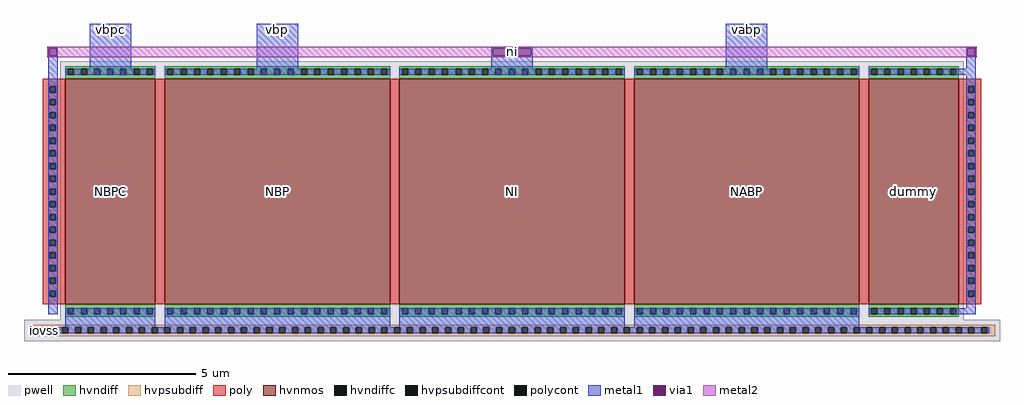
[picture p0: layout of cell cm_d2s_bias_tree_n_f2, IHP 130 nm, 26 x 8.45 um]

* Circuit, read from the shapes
.subckt cm_d2s_bias_tree_n_f2 ni iovss vbpc vbp vabp
XM1 vbpc ni iovss iovss sg13_hv_nmos w=2.4u l=6u
XM2 vbp ni iovss iovss sg13_hv_nmos w=6u l=6u
XM3 ni ni iovss iovss sg13_hv_nmos w=6u l=6u
XM4 vabp ni iovss iovss sg13_hv_nmos w=6u l=6u
XM5 ni ni ni iovss sg13_hv_nmos w=2.4u l=6u
.ends

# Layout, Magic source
magic
tech ihp-sg13cmos5l
magscale 1 2
<< pwell >>
rect -220 -128 4980 -16
<< hvpsubdiff >>
rect -194 -56 4954 -42
rect -194 -88 -152 -56
rect -120 -88 -84 -56
rect -52 -88 -16 -56
rect 16 -88 52 -56
rect 84 -88 120 -56
rect 152 -88 188 -56
rect 220 -88 256 -56
rect 288 -88 324 -56
rect 356 -88 392 -56
rect 424 -88 460 -56
rect 492 -88 528 -56
rect 560 -88 596 -56
rect 628 -88 664 -56
rect 696 -88 732 -56
rect 764 -88 800 -56
rect 832 -88 868 -56
rect 900 -88 936 -56
rect 968 -88 1004 -56
rect 1036 -88 1072 -56
rect 1104 -88 1140 -56
rect 1172 -88 1208 -56
rect 1240 -88 1276 -56
rect 1308 -88 1344 -56
rect 1376 -88 1412 -56
rect 1444 -88 1480 -56
rect 1512 -88 1548 -56
rect 1580 -88 1616 -56
rect 1648 -88 1684 -56
rect 1716 -88 1752 -56
rect 1784 -88 1820 -56
rect 1852 -88 1888 -56
rect 1920 -88 1956 -56
rect 1988 -88 2024 -56
rect 2056 -88 2092 -56
rect 2124 -88 2160 -56
rect 2192 -88 2228 -56
rect 2260 -88 2296 -56
rect 2328 -88 2364 -56
rect 2396 -88 2432 -56
rect 2464 -88 2500 -56
rect 2532 -88 2568 -56
rect 2600 -88 2636 -56
rect 2668 -88 2704 -56
rect 2736 -88 2772 -56
rect 2804 -88 2840 -56
rect 2872 -88 2908 -56
rect 2940 -88 2976 -56
rect 3008 -88 3044 -56
rect 3076 -88 3112 -56
rect 3144 -88 3180 -56
rect 3212 -88 3248 -56
rect 3280 -88 3316 -56
rect 3348 -88 3384 -56
rect 3416 -88 3452 -56
rect 3484 -88 3520 -56
rect 3552 -88 3588 -56
rect 3620 -88 3656 -56
rect 3688 -88 3724 -56
rect 3756 -88 3792 -56
rect 3824 -88 3860 -56
rect 3892 -88 3928 -56
rect 3960 -88 3996 -56
rect 4028 -88 4064 -56
rect 4096 -88 4132 -56
rect 4164 -88 4200 -56
rect 4232 -88 4268 -56
rect 4300 -88 4336 -56
rect 4368 -88 4404 -56
rect 4436 -88 4472 -56
rect 4504 -88 4540 -56
rect 4572 -88 4608 -56
rect 4640 -88 4676 -56
rect 4708 -88 4744 -56
rect 4776 -88 4812 -56
rect 4844 -88 4880 -56
rect 4912 -88 4954 -56
rect -194 -102 4954 -88
<< hvpsubdiffcont >>
rect -152 -88 -120 -56
rect -84 -88 -52 -56
rect -16 -88 16 -56
rect 52 -88 84 -56
rect 120 -88 152 -56
rect 188 -88 220 -56
rect 256 -88 288 -56
rect 324 -88 356 -56
rect 392 -88 424 -56
rect 460 -88 492 -56
rect 528 -88 560 -56
rect 596 -88 628 -56
rect 664 -88 696 -56
rect 732 -88 764 -56
rect 800 -88 832 -56
rect 868 -88 900 -56
rect 936 -88 968 -56
rect 1004 -88 1036 -56
rect 1072 -88 1104 -56
rect 1140 -88 1172 -56
rect 1208 -88 1240 -56
rect 1276 -88 1308 -56
rect 1344 -88 1376 -56
rect 1412 -88 1444 -56
rect 1480 -88 1512 -56
rect 1548 -88 1580 -56
rect 1616 -88 1648 -56
rect 1684 -88 1716 -56
rect 1752 -88 1784 -56
rect 1820 -88 1852 -56
rect 1888 -88 1920 -56
rect 1956 -88 1988 -56
rect 2024 -88 2056 -56
rect 2092 -88 2124 -56
rect 2160 -88 2192 -56
rect 2228 -88 2260 -56
rect 2296 -88 2328 -56
rect 2364 -88 2396 -56
rect 2432 -88 2464 -56
rect 2500 -88 2532 -56
rect 2568 -88 2600 -56
rect 2636 -88 2668 -56
rect 2704 -88 2736 -56
rect 2772 -88 2804 -56
rect 2840 -88 2872 -56
rect 2908 -88 2940 -56
rect 2976 -88 3008 -56
rect 3044 -88 3076 -56
rect 3112 -88 3144 -56
rect 3180 -88 3212 -56
rect 3248 -88 3280 -56
rect 3316 -88 3348 -56
rect 3384 -88 3416 -56
rect 3452 -88 3484 -56
rect 3520 -88 3552 -56
rect 3588 -88 3620 -56
rect 3656 -88 3688 -56
rect 3724 -88 3756 -56
rect 3792 -88 3824 -56
rect 3860 -88 3892 -56
rect 3928 -88 3960 -56
rect 3996 -88 4028 -56
rect 4064 -88 4096 -56
rect 4132 -88 4164 -56
rect 4200 -88 4232 -56
rect 4268 -88 4300 -56
rect 4336 -88 4368 -56
rect 4404 -88 4436 -56
rect 4472 -88 4504 -56
rect 4540 -88 4572 -56
rect 4608 -88 4640 -56
rect 4676 -88 4708 -56
rect 4744 -88 4776 -56
rect 4812 -88 4844 -56
rect 4880 -88 4912 -56
<< poly >>
rect -120 1228 -20 1268
rect -120 1196 -82 1228
rect -50 1196 -20 1228
rect -120 1160 -20 1196
rect -120 1128 -82 1160
rect -50 1128 -20 1160
rect -120 1092 -20 1128
rect -120 1060 -82 1092
rect -50 1060 -20 1092
rect -120 1024 -20 1060
rect -120 992 -82 1024
rect -50 992 -20 1024
rect -120 956 -20 992
rect -120 924 -82 956
rect -50 924 -20 956
rect -120 888 -20 924
rect -120 856 -82 888
rect -50 856 -20 888
rect -120 820 -20 856
rect -120 788 -82 820
rect -50 788 -20 820
rect -120 752 -20 788
rect -120 720 -82 752
rect -50 720 -20 752
rect -120 684 -20 720
rect -120 652 -82 684
rect -50 652 -20 684
rect -120 616 -20 652
rect -120 584 -82 616
rect -50 584 -20 616
rect -120 548 -20 584
rect -120 516 -82 548
rect -50 516 -20 548
rect -120 480 -20 516
rect -120 448 -82 480
rect -50 448 -20 480
rect -120 412 -20 448
rect -120 380 -82 412
rect -50 380 -20 412
rect -120 344 -20 380
rect -120 312 -82 344
rect -50 312 -20 344
rect -120 276 -20 312
rect -120 244 -82 276
rect -50 244 -20 276
rect -120 208 -20 244
rect -120 176 -82 208
rect -50 176 -20 208
rect -120 140 -20 176
rect -120 108 -82 140
rect -50 108 -20 140
rect -120 68 -20 108
rect 4780 1228 4880 1268
rect 4780 1196 4810 1228
rect 4842 1196 4880 1228
rect 4780 1160 4880 1196
rect 4780 1128 4810 1160
rect 4842 1128 4880 1160
rect 4780 1092 4880 1128
rect 4780 1060 4810 1092
rect 4842 1060 4880 1092
rect 4780 1024 4880 1060
rect 4780 992 4810 1024
rect 4842 992 4880 1024
rect 4780 956 4880 992
rect 4780 924 4810 956
rect 4842 924 4880 956
rect 4780 888 4880 924
rect 4780 856 4810 888
rect 4842 856 4880 888
rect 4780 820 4880 856
rect 4780 788 4810 820
rect 4842 788 4880 820
rect 4780 752 4880 788
rect 4780 720 4810 752
rect 4842 720 4880 752
rect 4780 684 4880 720
rect 4780 652 4810 684
rect 4842 652 4880 684
rect 4780 616 4880 652
rect 4780 584 4810 616
rect 4842 584 4880 616
rect 4780 548 4880 584
rect 4780 516 4810 548
rect 4842 516 4880 548
rect 4780 480 4880 516
rect 4780 448 4810 480
rect 4842 448 4880 480
rect 4780 412 4880 448
rect 4780 380 4810 412
rect 4842 380 4880 412
rect 4780 344 4880 380
rect 4780 312 4810 344
rect 4842 312 4880 344
rect 4780 276 4880 312
rect 4780 244 4810 276
rect 4842 244 4880 276
rect 4780 208 4880 244
rect 4780 176 4810 208
rect 4842 176 4880 208
rect 4780 140 4880 176
rect 4780 108 4810 140
rect 4842 108 4880 140
rect 4780 68 4880 108
<< polycont >>
rect -82 1196 -50 1228
rect -82 1128 -50 1160
rect -82 1060 -50 1092
rect -82 992 -50 1024
rect -82 924 -50 956
rect -82 856 -50 888
rect -82 788 -50 820
rect -82 720 -50 752
rect -82 652 -50 684
rect -82 584 -50 616
rect -82 516 -50 548
rect -82 448 -50 480
rect -82 380 -50 412
rect -82 312 -50 344
rect -82 244 -50 276
rect -82 176 -50 208
rect -82 108 -50 140
rect 4810 1196 4842 1228
rect 4810 1128 4842 1160
rect 4810 1060 4842 1092
rect 4810 992 4842 1024
rect 4810 924 4842 956
rect 4810 856 4842 888
rect 4810 788 4842 820
rect 4810 720 4842 752
rect 4810 652 4842 684
rect 4810 584 4842 616
rect 4810 516 4842 548
rect 4810 448 4842 480
rect 4810 380 4842 412
rect 4810 312 4842 344
rect 4810 244 4842 276
rect 4810 176 4842 208
rect 4810 108 4842 140
<< metal1 >>
rect -92 1432 -40 1441
rect -92 1392 -86 1432
rect -46 1392 -40 1432
rect -92 1228 -40 1392
rect 129 1290 351 1561
rect 1019 1290 1241 1561
rect 2269 1432 2491 1441
rect 2269 1392 2278 1432
rect 2482 1392 2491 1432
rect 2269 1290 2491 1392
rect 3519 1290 3741 1561
rect 4800 1432 4852 1441
rect 4800 1392 4806 1432
rect 4846 1392 4852 1432
rect 4800 1322 4852 1392
rect 4740 1290 4852 1322
rect -92 1196 -82 1228
rect -50 1196 -40 1228
rect -92 1160 -40 1196
rect -92 1128 -82 1160
rect -50 1128 -40 1160
rect -92 1092 -40 1128
rect -92 1060 -82 1092
rect -50 1060 -40 1092
rect -92 1024 -40 1060
rect -92 992 -82 1024
rect -50 992 -40 1024
rect -92 956 -40 992
rect -92 924 -82 956
rect -50 924 -40 956
rect -92 888 -40 924
rect -92 856 -82 888
rect -50 856 -40 888
rect -92 820 -40 856
rect -92 788 -82 820
rect -50 788 -40 820
rect -92 752 -40 788
rect -92 720 -82 752
rect -50 720 -40 752
rect -92 684 -40 720
rect -92 652 -82 684
rect -50 652 -40 684
rect -92 616 -40 652
rect -92 584 -82 616
rect -50 584 -40 616
rect -92 548 -40 584
rect -92 516 -82 548
rect -50 516 -40 548
rect -92 480 -40 516
rect -92 448 -82 480
rect -50 448 -40 480
rect -92 412 -40 448
rect -92 380 -82 412
rect -50 380 -40 412
rect -92 344 -40 380
rect -92 312 -82 344
rect -50 312 -40 344
rect -92 276 -40 312
rect -92 244 -82 276
rect -50 244 -40 276
rect -92 208 -40 244
rect -92 176 -82 208
rect -50 176 -40 208
rect -92 140 -40 176
rect -92 108 -82 140
rect -50 108 -40 140
rect -92 14 -40 108
rect 4800 1228 4852 1290
rect 4800 1196 4810 1228
rect 4842 1196 4852 1228
rect 4800 1160 4852 1196
rect 4800 1128 4810 1160
rect 4842 1128 4852 1160
rect 4800 1092 4852 1128
rect 4800 1060 4810 1092
rect 4842 1060 4852 1092
rect 4800 1024 4852 1060
rect 4800 992 4810 1024
rect 4842 992 4852 1024
rect 4800 956 4852 992
rect 4800 924 4810 956
rect 4842 924 4852 956
rect 4800 888 4852 924
rect 4800 856 4810 888
rect 4842 856 4852 888
rect 4800 820 4852 856
rect 4800 788 4810 820
rect 4842 788 4852 820
rect 4800 752 4852 788
rect 4800 720 4810 752
rect 4842 720 4852 752
rect 4800 684 4852 720
rect 4800 652 4810 684
rect 4842 652 4852 684
rect 4800 616 4852 652
rect 4800 584 4810 616
rect 4842 584 4852 616
rect 4800 548 4852 584
rect 4800 516 4810 548
rect 4842 516 4852 548
rect 4800 480 4852 516
rect 4800 448 4810 480
rect 4842 448 4852 480
rect 4800 412 4852 448
rect 4800 380 4810 412
rect 4842 380 4852 412
rect 4800 344 4852 380
rect 4800 312 4810 344
rect 4842 312 4852 344
rect 4800 276 4852 312
rect 4800 244 4810 276
rect 4842 244 4852 276
rect 4800 208 4852 244
rect 4800 176 4810 208
rect 4842 176 4852 208
rect 4800 140 4852 176
rect 4800 108 4810 140
rect 4842 108 4852 140
rect 4800 46 4852 108
rect 0 -56 480 46
rect 530 -56 1730 46
rect 1780 -56 2980 46
rect 3030 -56 4230 46
rect 4740 14 4852 46
rect -162 -88 -152 -56
rect -120 -88 -84 -56
rect -52 -88 -16 -56
rect 16 -88 52 -56
rect 84 -88 120 -56
rect 152 -88 188 -56
rect 220 -88 256 -56
rect 288 -88 324 -56
rect 356 -88 392 -56
rect 424 -88 460 -56
rect 492 -88 528 -56
rect 560 -88 596 -56
rect 628 -88 664 -56
rect 696 -88 732 -56
rect 764 -88 800 -56
rect 832 -88 868 -56
rect 900 -88 936 -56
rect 968 -88 1004 -56
rect 1036 -88 1072 -56
rect 1104 -88 1140 -56
rect 1172 -88 1208 -56
rect 1240 -88 1276 -56
rect 1308 -88 1344 -56
rect 1376 -88 1412 -56
rect 1444 -88 1480 -56
rect 1512 -88 1548 -56
rect 1580 -88 1616 -56
rect 1648 -88 1684 -56
rect 1716 -88 1752 -56
rect 1784 -88 1820 -56
rect 1852 -88 1888 -56
rect 1920 -88 1956 -56
rect 1988 -88 2024 -56
rect 2056 -88 2092 -56
rect 2124 -88 2160 -56
rect 2192 -88 2228 -56
rect 2260 -88 2296 -56
rect 2328 -88 2364 -56
rect 2396 -88 2432 -56
rect 2464 -88 2500 -56
rect 2532 -88 2568 -56
rect 2600 -88 2636 -56
rect 2668 -88 2704 -56
rect 2736 -88 2772 -56
rect 2804 -88 2840 -56
rect 2872 -88 2908 -56
rect 2940 -88 2976 -56
rect 3008 -88 3044 -56
rect 3076 -88 3112 -56
rect 3144 -88 3180 -56
rect 3212 -88 3248 -56
rect 3280 -88 3316 -56
rect 3348 -88 3384 -56
rect 3416 -88 3452 -56
rect 3484 -88 3520 -56
rect 3552 -88 3588 -56
rect 3620 -88 3656 -56
rect 3688 -88 3724 -56
rect 3756 -88 3792 -56
rect 3824 -88 3860 -56
rect 3892 -88 3928 -56
rect 3960 -88 3996 -56
rect 4028 -88 4064 -56
rect 4096 -88 4132 -56
rect 4164 -88 4200 -56
rect 4232 -88 4268 -56
rect 4300 -88 4336 -56
rect 4368 -88 4404 -56
rect 4436 -88 4472 -56
rect 4504 -88 4540 -56
rect 4572 -88 4608 -56
rect 4640 -88 4676 -56
rect 4708 -88 4744 -56
rect 4776 -88 4812 -56
rect 4844 -88 4880 -56
rect 4912 -88 4922 -56
<< via1 >>
rect -86 1392 -46 1432
rect 2278 1392 2482 1432
rect 4806 1392 4846 1432
<< metal2 >>
rect -95 1432 4855 1441
rect -95 1392 -86 1432
rect -46 1392 2278 1432
rect 2482 1392 4806 1432
rect 4846 1392 4855 1432
rect -95 1383 4855 1392
use cm_d2s_nmosHV_2  cm_d2s_nmosHV_2_0
transform 0 -1 4760 -1 0 1336
box -26 -36 1362 516
use cm_d2s_nmosHV_2  cm_d2s_nmosHV_2_1
transform 0 1 0 -1 0 1336
box -26 -36 1362 516
use cm_d2s_nmosHV_3  cm_d2s_nmosHV_3_0
transform 0 -1 4230 -1 0 1336
box -26 -36 1362 1236
use cm_d2s_nmosHV_3  cm_d2s_nmosHV_3_1
transform 0 1 1780 -1 0 1336
box -26 -36 1362 1236
use cm_d2s_nmosHV_3  cm_d2s_nmosHV_3_2
transform 0 1 530 -1 0 1336
box -26 -36 1362 1236
<< labels >>
rlabel comment s 240 668 240 668 4 NBPC
rlabel comment s 1130 668 1130 668 4 NBP
rlabel comment s 2380 668 2380 668 4 NI
rlabel comment s 3630 668 3630 668 4 NABP
rlabel comment s 4520 668 4520 668 4 dummy
rlabel metal2 s 2330 1383 2430 1441 4 ni
port 2 nsew
rlabel metal1 s -162 -88 -62 -56 4 iovss
port 3 nsew
rlabel metal1 s 129 1501 351 1561 4 vbpc
port 4 nsew
rlabel metal1 s 1019 1501 1241 1561 4 vbp
port 5 nsew
rlabel metal1 s 3519 1501 3741 1561 4 vabp
port 6 nsew
<< properties >>
string GDS_END 255550
string GDS_FILE custom_io/gds/sg13cmos5l_IOPadDiff2Single.uniq.gds
string GDS_START 245896
<< end >>

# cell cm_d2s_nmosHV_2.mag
magic
tech ihp-sg13cmos5l
<< pwell >>
rect -13 -13 681 253
<< hvnmos >>
rect 34 0 634 240
<< hvndiff >>
rect 0 233 34 240
rect 0 217 7 233
rect 23 217 34 233
rect 0 198 34 217
rect 0 182 7 198
rect 23 182 34 198
rect 0 163 34 182
rect 0 147 7 163
rect 23 147 34 163
rect 0 128 34 147
rect 0 112 7 128
rect 23 112 34 128
rect 0 93 34 112
rect 0 77 7 93
rect 23 77 34 93
rect 0 58 34 77
rect 0 42 7 58
rect 23 42 34 58
rect 0 23 34 42
rect 0 7 7 23
rect 23 7 34 23
rect 0 0 34 7
rect 634 233 668 240
rect 634 217 645 233
rect 661 217 668 233
rect 634 198 668 217
rect 634 182 645 198
rect 661 182 668 198
rect 634 163 668 182
rect 634 147 645 163
rect 661 147 668 163
rect 634 128 668 147
rect 634 112 645 128
rect 661 112 668 128
rect 634 93 668 112
rect 634 77 645 93
rect 661 77 668 93
rect 634 58 668 77
rect 634 42 645 58
rect 661 42 668 58
rect 634 23 668 42
rect 634 7 645 23
rect 661 7 668 23
rect 634 0 668 7
<< hvndiffc >>
rect 7 217 23 233
rect 7 182 23 198
rect 7 147 23 163
rect 7 112 23 128
rect 7 77 23 93
rect 7 42 23 58
rect 7 7 23 23
rect 645 217 661 233
rect 645 182 661 198
rect 645 147 661 163
rect 645 112 661 128
rect 645 77 661 93
rect 645 42 661 58
rect 645 7 661 23
<< poly >>
rect 34 240 634 258
rect 34 -18 634 0
<< metal1 >>
rect 7 233 23 240
rect 7 198 23 217
rect 7 163 23 182
rect 7 128 23 147
rect 7 93 23 112
rect 7 58 23 77
rect 7 23 23 42
rect 7 0 23 7
rect 645 233 661 240
rect 645 198 661 217
rect 645 163 661 182
rect 645 128 661 147
rect 645 93 661 112
rect 645 58 661 77
rect 645 23 661 42
rect 645 0 661 7
<< labels >>
flabel comment s 334 120 334 120 0 FreeSans 100 90 0 0 nmosHV
<< properties >>
string GDS_END 52010
string GDS_FILE custom_io/gds/sg13cmos5l_IOPadDiff2Single.uniq.gds
string GDS_START 50262
<< end >>

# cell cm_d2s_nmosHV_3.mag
magic
tech ihp-sg13cmos5l
magscale 1 2
<< pwell >>
rect -26 -26 1362 1226
<< hvnmos >>
rect 68 0 1268 1200
<< hvndiff >>
rect 0 1186 68 1200
rect 0 1154 14 1186
rect 46 1154 68 1186
rect 0 1114 68 1154
rect 0 1082 14 1114
rect 46 1082 68 1114
rect 0 1043 68 1082
rect 0 1011 14 1043
rect 46 1011 68 1043
rect 0 972 68 1011
rect 0 940 14 972
rect 46 940 68 972
rect 0 901 68 940
rect 0 869 14 901
rect 46 869 68 901
rect 0 829 68 869
rect 0 797 14 829
rect 46 797 68 829
rect 0 758 68 797
rect 0 726 14 758
rect 46 726 68 758
rect 0 687 68 726
rect 0 655 14 687
rect 46 655 68 687
rect 0 616 68 655
rect 0 584 14 616
rect 46 584 68 616
rect 0 544 68 584
rect 0 512 14 544
rect 46 512 68 544
rect 0 473 68 512
rect 0 441 14 473
rect 46 441 68 473
rect 0 402 68 441
rect 0 370 14 402
rect 46 370 68 402
rect 0 331 68 370
rect 0 299 14 331
rect 46 299 68 331
rect 0 259 68 299
rect 0 227 14 259
rect 46 227 68 259
rect 0 188 68 227
rect 0 156 14 188
rect 46 156 68 188
rect 0 117 68 156
rect 0 85 14 117
rect 46 85 68 117
rect 0 46 68 85
rect 0 14 14 46
rect 46 14 68 46
rect 0 0 68 14
rect 1268 1186 1336 1200
rect 1268 1154 1290 1186
rect 1322 1154 1336 1186
rect 1268 1114 1336 1154
rect 1268 1082 1290 1114
rect 1322 1082 1336 1114
rect 1268 1043 1336 1082
rect 1268 1011 1290 1043
rect 1322 1011 1336 1043
rect 1268 972 1336 1011
rect 1268 940 1290 972
rect 1322 940 1336 972
rect 1268 901 1336 940
rect 1268 869 1290 901
rect 1322 869 1336 901
rect 1268 829 1336 869
rect 1268 797 1290 829
rect 1322 797 1336 829
rect 1268 758 1336 797
rect 1268 726 1290 758
rect 1322 726 1336 758
rect 1268 687 1336 726
rect 1268 655 1290 687
rect 1322 655 1336 687
rect 1268 616 1336 655
rect 1268 584 1290 616
rect 1322 584 1336 616
rect 1268 544 1336 584
rect 1268 512 1290 544
rect 1322 512 1336 544
rect 1268 473 1336 512
rect 1268 441 1290 473
rect 1322 441 1336 473
rect 1268 402 1336 441
rect 1268 370 1290 402
rect 1322 370 1336 402
rect 1268 331 1336 370
rect 1268 299 1290 331
rect 1322 299 1336 331
rect 1268 259 1336 299
rect 1268 227 1290 259
rect 1322 227 1336 259
rect 1268 188 1336 227
rect 1268 156 1290 188
rect 1322 156 1336 188
rect 1268 117 1336 156
rect 1268 85 1290 117
rect 1322 85 1336 117
rect 1268 46 1336 85
rect 1268 14 1290 46
rect 1322 14 1336 46
rect 1268 0 1336 14
<< hvndiffc >>
rect 14 1154 46 1186
rect 14 1082 46 1114
rect 14 1011 46 1043
rect 14 940 46 972
rect 14 869 46 901
rect 14 797 46 829
rect 14 726 46 758
rect 14 655 46 687
rect 14 584 46 616
rect 14 512 46 544
rect 14 441 46 473
rect 14 370 46 402
rect 14 299 46 331
rect 14 227 46 259
rect 14 156 46 188
rect 14 85 46 117
rect 14 14 46 46
rect 1290 1154 1322 1186
rect 1290 1082 1322 1114
rect 1290 1011 1322 1043
rect 1290 940 1322 972
rect 1290 869 1322 901
rect 1290 797 1322 829
rect 1290 726 1322 758
rect 1290 655 1322 687
rect 1290 584 1322 616
rect 1290 512 1322 544
rect 1290 441 1322 473
rect 1290 370 1322 402
rect 1290 299 1322 331
rect 1290 227 1322 259
rect 1290 156 1322 188
rect 1290 85 1322 117
rect 1290 14 1322 46
<< poly >>
rect 68 1200 1268 1236
rect 68 -36 1268 0
<< metal1 >>
rect 14 1186 46 1200
rect 14 1114 46 1154
rect 14 1043 46 1082
rect 14 972 46 1011
rect 14 901 46 940
rect 14 829 46 869
rect 14 758 46 797
rect 14 687 46 726
rect 14 616 46 655
rect 14 544 46 584
rect 14 473 46 512
rect 14 402 46 441
rect 14 331 46 370
rect 14 259 46 299
rect 14 188 46 227
rect 14 117 46 156
rect 14 46 46 85
rect 14 0 46 14
rect 1290 1186 1322 1200
rect 1290 1114 1322 1154
rect 1290 1043 1322 1082
rect 1290 972 1322 1011
rect 1290 901 1322 940
rect 1290 829 1322 869
rect 1290 758 1322 797
rect 1290 687 1322 726
rect 1290 616 1322 655
rect 1290 544 1322 584
rect 1290 473 1322 512
rect 1290 402 1322 441
rect 1290 331 1322 370
rect 1290 259 1322 299
rect 1290 188 1322 227
rect 1290 117 1322 156
rect 1290 46 1322 85
rect 1290 0 1322 14
<< labels >>
flabel comment s 668 600 668 600 0 FreeSans 200 90 0 0 nmosHV
<< properties >>
string GDS_END 50214
string GDS_FILE custom_io/gds/sg13cmos5l_IOPadDiff2Single.uniq.gds
string GDS_START 47186
<< end >>
